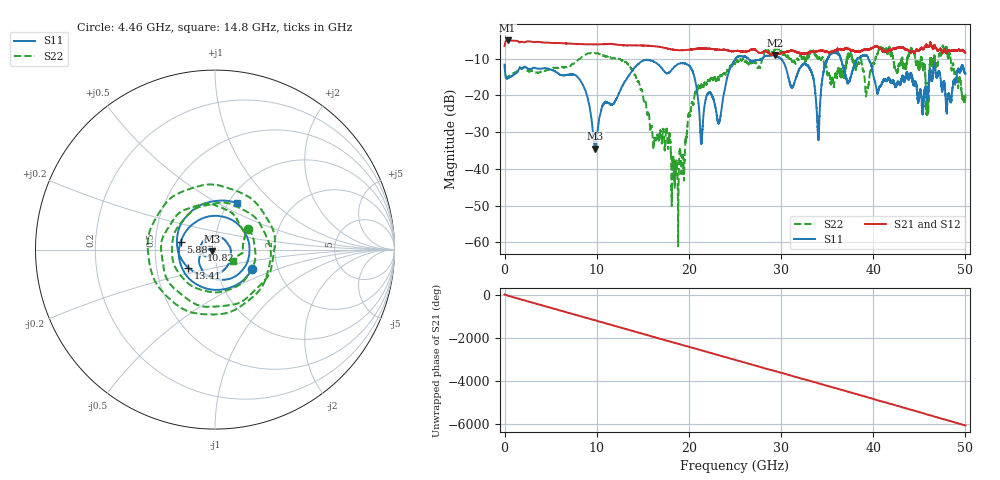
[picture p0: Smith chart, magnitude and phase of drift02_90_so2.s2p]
!Created with skrf (http://scikit-rf.org).
# Hz S RI R 50.0
!freq ReS11 ImS11 ReS21 ImS21 ReS12 ImS12 ReS22 ImS22
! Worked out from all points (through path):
!   10001 points, 300 kHz to 50 GHz, reference 50 ohm
!   highest |S21| = -5.03 dB at 325.3 MHz (marker M1); lowest = -9.0 dB at 29.38 GHz (marker M2)
!   group delay of S21, straight-line fit = 336 ps
!   lowest |S11| = -34.5 dB at 9.83 GHz (marker M3), VSWR 1.04, Z = 48.4 - j0.982 ohm
!   |S11| at or under -10 dB: start of sweep to 25.08 GHz; 29.97 GHz to 35.05 GHz (5.087 GHz wide, 15.6 % of centre); 39.48 GHz to end of sweep (the widest 3 of 8)
!   |S22| runs from -61.1 to -6.4 dB; largest |S21 - S12| = 0.024
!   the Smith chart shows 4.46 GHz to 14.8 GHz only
!   S11 on the Smith chart (normalised r, x): 4.46 GHz: 1.48, -0.34; 5.88 GHz: 0.68, +0.06; 10.82 GHz: 0.86, +0.00; 13.41 GHz: 0.73, -0.15; 14.8 GHz: 1.10, +0.62
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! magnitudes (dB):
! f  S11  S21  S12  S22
! 300 kHz  -11.6  -6.5  -6.4  -11.6
! 325.3 MHz  -15.4  -5.0  -5.0  -15.0
! 4.46 GHz  -12.6  -5.6  -5.6  -13.2
! 5.88 GHz  -14.2  -5.7  -5.7  -12.4
! 8.335 GHz  -16.4  -6.0  -6.0  -9.6
! 9.83 GHz  -34.5  -6.1  -6.1  -8.5
! 10.82 GHz  -22.2  -6.0  -6.0  -9.2
! 13.41 GHz  -14.9  -6.4  -6.4  -11.6
! 14.8 GHz  -10.9  -6.4  -6.4  -18.5
! 16.67 GHz  -11.6  -6.7  -6.7  -31.5
! 18.66 GHz  -11.8  -7.6  -7.6  -38.4
! 20.38 GHz  -13.3  -7.5  -7.5  -22.0
! 21.37 GHz  -32.4  -7.2  -7.2  -16.9
! 25 GHz  -10.2  -7.9  -7.9  -11.3
! 29.38 GHz  -9.3  -9.0  -9.1  -7.3
! 33.34 GHz  -13.9  -8.1  -8.1  -8.0
! 34.02 GHz  -31.8  -7.9  -7.9  -10.1
! 35.54 GHz  -8.4  -8.1  -8.1  -15.2
! 41.67 GHz  -15.3  -7.7  -7.7  -7.2
! 45.87 GHz  -20.1  -6.9  -6.9  -24.0
! 47.76 GHz  -17.0  -7.4  -7.5  -7.9
! 50 GHz  -14.0  -8.4  -8.3  -20.0
